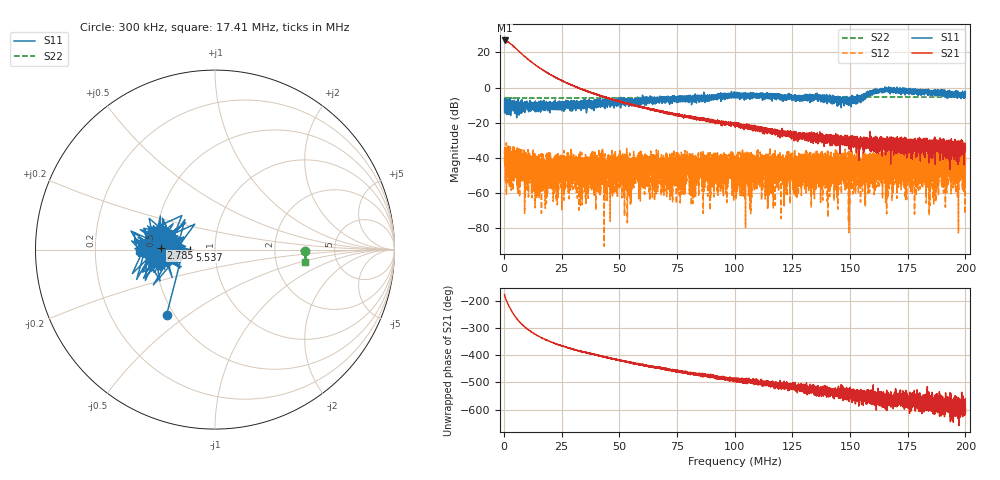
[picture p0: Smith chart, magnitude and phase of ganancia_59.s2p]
# Hz S DB R 50
! CMT, M5065, 19127446, 24.2.4/2
! Date: 10/29/2024 12:52:21 PM
! Data: Format (Calibration Info)
! Freq	S11:dB/Ang(F2)	S21:dB/Ang(F2)	S12:dB/Ang(F2)	S22:dB/Ang(F2)
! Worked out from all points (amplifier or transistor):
!   9000 points, 300 kHz to 200 MHz, reference 50 ohm
!   highest |S21| = 26.9 dB at 388.8 kHz (marker M1)
!   |S21| within 3 dB of that: start of sweep to 3.883 MHz
!   unconditionally stable (mu >= 1): 3.785 MHz to 165.2 MHz; 166.8 MHz to 169.1 MHz; 170.4 MHz to end of sweep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
!   at 33.59 MHz: K = 51.15, MAG = 1.2 dB, |S12| = -43.6 dB
!   at 100.2 MHz: K = 356.71, MAG = -17.4 dB, |S12| = -42.7 dB
!   at 200 MHz: K = 1313.76, MAG = -29.9 dB, |S12| = -42.4 dB
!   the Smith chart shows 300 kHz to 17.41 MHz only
!   S11 on the Smith chart (normalised r, x): 300 kHz: 0.46, -0.42; 2.785 MHz: 0.54, +0.01; 5.537 MHz: 0.76, -0.00; 17.41 MHz: 0.40, -0.01
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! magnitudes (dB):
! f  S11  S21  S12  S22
! 300 kHz  -6.9  26.8  -42.4  -6.0
! 388.8 kHz  -8.4  26.9  -45.3  -6.1
! 2.785 MHz  -10.4  25.1  -39.9  -6.0
! 5.537 MHz  -17.2  21.9  -52.1  -5.9
! 17.41 MHz  -7.4  9.5  -49.6  -5.9
! 33.59 MHz  -7.4  -0.9  -43.6  -5.9
! 42.22 MHz  -7.5  -4.8  -47.2  -5.8
! 44.02 MHz  -9.0  -5.5  -45.2  -5.8
! 46.08 MHz  -6.9  -6.4  -39.5  -5.8
! 54.49 MHz  -9.3  -9.4  -40.1  -5.7
! 66.87 MHz  -7.7  -13.3  -38.2  -5.7
! 72.49 MHz  -6.5  -14.5  -45.6  -5.7
! 79.57 MHz  -5.9  -16.4  -44.6  -5.7
! 81.37 MHz  -7.4  -17.3  -52.7  -5.7
! 100.2 MHz  -5.0  -20.4  -42.7  -5.6
! 133.4 MHz  -5.0  -26.7  -42.3  -5.4
! 149.8 MHz  -8.4  -30.1  -67.0  -5.3
! 166.7 MHz  -0.5  -31.8  -47.4  -5.3
! 180.9 MHz  -2.9  -34.7  -48.1  -5.4
! 183.3 MHz  -3.0  -34.9  -51.1  -5.4
! 185.5 MHz  -2.0  -33.0  -48.1  -5.4
! 200 MHz  -3.6  -33.8  -42.4  -5.5
